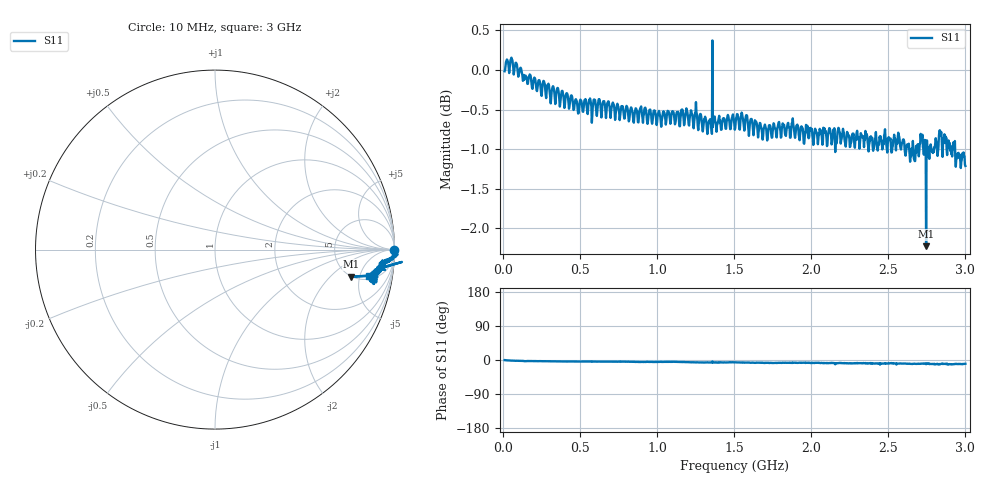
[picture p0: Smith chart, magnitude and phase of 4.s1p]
# HZ S RI R 50
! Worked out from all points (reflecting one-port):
!   1010 points, 10 MHz to 3 GHz, reference 50 ohm
!   lowest |S11| = -2.2 dB at 2.745 GHz (marker M1), VSWR 7.85, Z = 249 - j187 ohm
!   phase of S11 starts at -0 deg and turns -10 deg over the sweep
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1e7  0.998 -0.00354
6.333994e7  1.009 -0.0275
1.433498e8  0.9901 -0.0537
3.863429e8  0.9671 -0.067
7.597225e8  0.9338 -0.0595
8.960357e8  0.9445 -0.0841
1.133102e9  0.9371 -0.0818
1.296085e9  0.9088 -0.1013
1.373132e9  0.9285 -0.1058
1.376095e9  0.9225 -0.1039
1.506482e9  0.914 -0.096
1.743548e9  0.8981 -0.1208
1.879861e9  0.9256 -0.1092
2.039881e9  0.8986 -0.1133
2.253241e9  0.8848 -0.131
2.336214e9  0.8995 -0.1254
2.454747e9  0.8912 -0.1469
2.519941e9  0.8783 -0.1232
2.558464e9  0.8863 -0.1474
2.62662e9  0.8817 -0.1548
2.66218e9  0.8744 -0.1556
2.72441e9  0.8816 -0.147
2.745154e9  0.7593 -0.15
2.819237e9  0.869 -0.1539
2.842943e9  0.8989 -0.1644
2.860723e9  0.8867 -0.1574
2.899247e9  0.8823 -0.1727
3e9  0.8567 -0.1498
